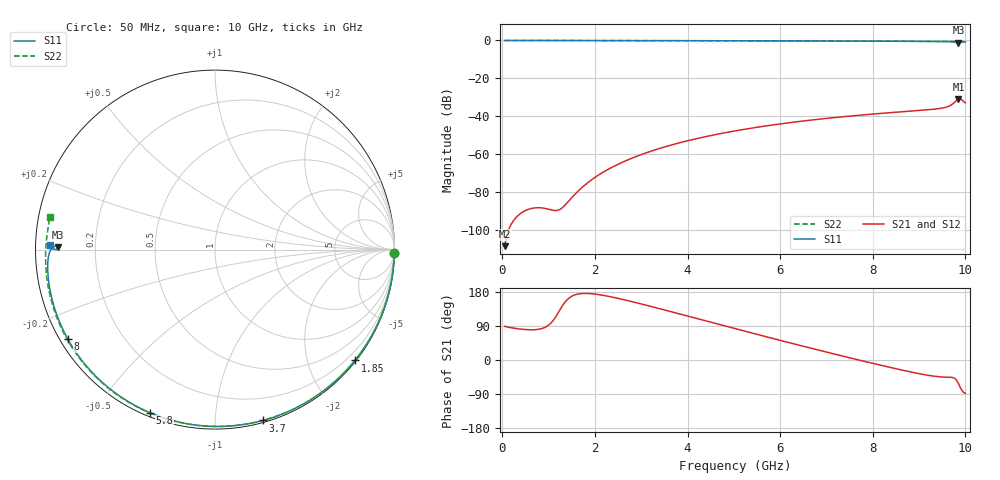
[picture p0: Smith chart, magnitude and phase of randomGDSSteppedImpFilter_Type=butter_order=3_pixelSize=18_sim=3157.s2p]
! freq	dB(S11)	phase(S11)	dB(S12)	phase(S12)
!  dB(S21)	phase(S21)	dB(S22)	phase(S22)
!S-par simulation data
#  GHz  S  DB  R 50
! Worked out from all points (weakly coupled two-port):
!   200 points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, 50 MHz to 10 GHz, reference 50 ohm
!   highest |S21| = -30.83 dB at 9.85 GHz (marker M1); lowest = -108.6 dB at 50 MHz (marker M2)
!   lowest |S11| = -1.2 dB at 9.85 GHz (marker M3), VSWR 15.10, Z = 3.31 + j0.36 ohm
!   |S11| at or under -10 dB: nowhere
!   |S22| runs from -0.6 to 0.0 dB; largest |S21 - S12| = 0
!   S11 on the Smith chart (normalised r, x): 50 MHz: open; 1.85 GHz: 0.03, -2.87; 3.7 GHz: 0.02, -1.32; 5.8 GHz: 0.02, -0.68; 8 GHz: 0.02, -0.28; 10 GHz: 0.04, +0.01
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0.05  -0.00 -1.0  -108.56 88.6  -108.56 88.6  -0.00 -1.1
0.8  -0.02 -16.8  -88.27 81.4  -88.27 81.4  -0.02 -18.1
1.6  -0.04 -33.3  -80.40 173.1  -80.40 173.1  -0.05 -35.9
1.75  -0.05 -36.4  -76.97 175.7  -76.97 175.7  -0.05 -39.2
1.85  -0.05 -38.4  -74.96 175.6  -74.96 175.6  -0.05 -41.3
2.15  -0.06 -44.4  -69.93 171.3  -69.93 171.3  -0.06 -47.8
2.5  -0.07 -51.4  -65.34 162.6  -65.34 162.6  -0.07 -55.2
2.9  -0.08 -59.2  -61.15 151.0  -61.15 151.0  -0.08 -63.5
3.4  -0.09 -68.7  -56.96 135.3  -56.96 135.3  -0.10 -73.6
3.7  -0.10 -74.3  -54.84 125.7  -54.84 125.7  -0.11 -79.5
4.35  -0.12 -86.3  -50.97 104.7  -50.97 104.7  -0.13 -92.0
5.05  -0.15 -98.7  -47.63 82.1  -47.63 82.1  -0.16 -105.0
5.8  -0.19 -111.7  -44.73 58.2  -44.73 58.2  -0.20 -118.4
6.7  -0.25 -127.0  -41.93 30.1  -41.93 30.1  -0.25 -134.0
8  -0.36 -148.8  -38.84 -8.9  -38.84 -8.9  -0.36 -156.2
8.35  -0.40 -154.8  -38.15 -18.9  -38.15 -18.9  -0.40 -162.2
8.95  -0.47 -165.2  -37.05 -34.8  -37.05 -34.8  -0.46 -172.6
9.5  -0.59 -175.4  -35.68 -44.9  -35.68 -44.9  -0.52 177.7
9.7  -0.74 -179.6  -33.97 -45.7  -33.97 -45.7  -0.55 174.2
9.85  -1.15 179.2  -30.83 -62.0  -30.83 -62.0  -0.56 171.6
9.9  -1.07 -179.9  -30.90 -75.3  -30.90 -75.3  -0.55 170.6
10  -0.74 178.5  -32.96 -88.1  -32.96 -88.1  -0.56 168.7
